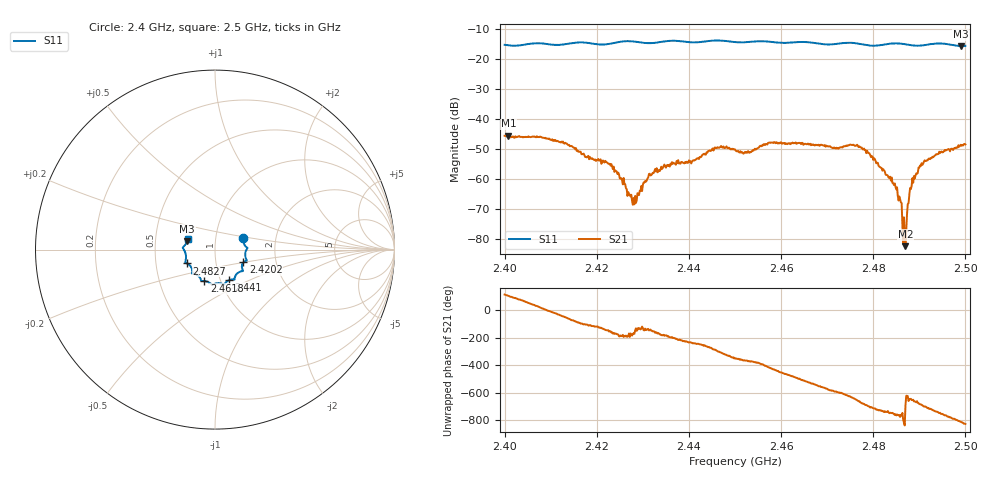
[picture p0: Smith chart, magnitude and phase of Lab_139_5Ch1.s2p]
# Hz S RI R 50
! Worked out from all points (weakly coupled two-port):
!   601 points, 2.4 GHz to 2.5 GHz, reference 50 ohm
!   highest |S21| = -45.63 dB at 2.4008 GHz (marker M1); lowest = -82.4 dB at 2.487 GHz (marker M2)
!   lowest |S11| = -15.8 dB at 2.499 GHz (marker M3), VSWR 1.39, Z = 36.4 + j3.47 ohm
!   |S11| at or under -10 dB: start of sweep to end of sweep
!   S12 and S22 are empty: the file has one direction only
!   S11 on the Smith chart (normalised r, x): 2.4 GHz: 1.36, +0.18; 2.4202 GHz: 1.36, -0.20; 2.441 GHz: 1.10, -0.39; 2.4618 GHz: 0.84, -0.30; 2.4827 GHz: 0.72, -0.12; 2.5 GHz: 0.73, +0.09
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2.4e9  0.1585 0.063  -0.00208 0.00478  0 0  0 0
2.400833e9  0.1581 0.0539  -0.00116 0.0051  0 0  0 0
2.416667e9  0.1772 -0.0609  -0.000311 -0.00257  0 0  0 0
2.420167e9  0.1586 -0.0712  -0.000961 -0.0018  0 0  0 0
2.423167e9  0.1498 -0.0991  -0.00167 -0.000557  0 0  0 0
2.428167e9  0.1514 -0.12  -0.000373 -5.63e-05  0 0  0 0
2.433333e9  0.1114 -0.1507  -0.00128 -0.000337  0 0  0 0
2.441e9  0.0789 -0.1697  -0.00105 0.00175  0 0  0 0
2.446e9  0.0498 -0.1951  0.00127 0.00299  0 0  0 0
2.45e9  0.0284 -0.1873  0.00302 0.000636  0 0  0 0
2.461833e9  -0.0591 -0.1753  -0.00152 -0.00361  0 0  0 0
2.466667e9  -0.0787 -0.1684  -0.00372 -0.000412  0 0  0 0
2.476833e9  -0.1269 -0.1253  0.00176 0.00289  0 0  0 0
2.482667e9  -0.1558 -0.0774  0.00112 -0.000377  0 0  0 0
2.483333e9  -0.1601 -0.0753  0.000969 -0.000403  0 0  0 0
2.485667e9  -0.1655 -0.0688  0.000386 -0.000333  0 0  0 0
2.486667e9  -0.1641 -0.0627  -2.21e-05 -0.000228  0 0  0 0
2.487e9  -0.1635 -0.06  6.48e-05 3.94e-05  0 0  0 0
2.488333e9  -0.1614 -0.0456  0.00029 0.000706  0 0  0 0
2.490333e9  -0.1648 -0.0194  0.00133 0.000957  0 0  0 0
2.499e9  -0.1555 0.0464  -6.52e-05 -0.0037  0 0  0 0
2.5e9  -0.1522 0.0607  -0.00102 -0.0036  0 0  0 0
